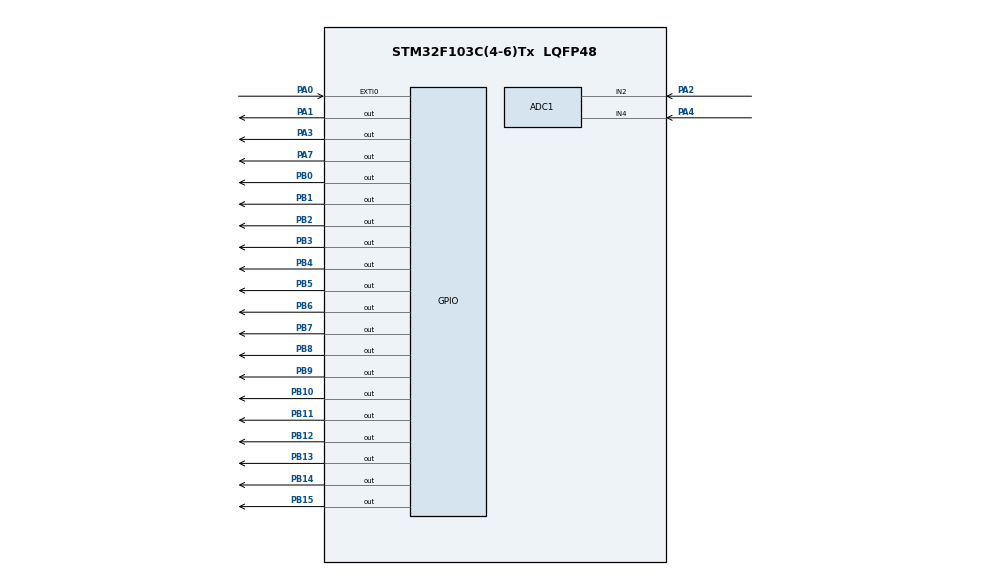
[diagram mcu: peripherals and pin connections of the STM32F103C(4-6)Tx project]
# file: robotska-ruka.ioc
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ADC1.Channel-0\#ChannelRegularConversion=ADC_CHANNEL_2
ADC1.Channel-4\#ChannelRegularConversion=ADC_CHANNEL_4
ADC1.ContinuousConvMode=ENABLE
ADC1.NbrOfConversion=2
ADC1.NbrOfConversionFlag=1
ADC1.Rank-0\#ChannelRegularConversion=1
ADC1.Rank-4\#ChannelRegularConversion=2
ADC1.SamplingTime-0\#ChannelRegularConversion=ADC_SAMPLETIME_1CYCLE_5
ADC1.SamplingTime-4\#ChannelRegularConversion=ADC_SAMPLETIME_1CYCLE_5
ADC1.master=1
Mcu.Family=STM32F1
Mcu.Name=STM32F103C(4-6)Tx
Mcu.Package=LQFP48
NVIC.EXTI0_IRQn=true\:0\:0\:true\:false\:true\:true\:true
NVIC.PriorityGroup=NVIC_PRIORITYGROUP_4
PA0-WKUP.GPIO_ModeDefaultEXTI=GPIO_MODE_IT_FALLING
PA0-WKUP.Signal=GPXTI0
PA1.Signal=GPIO_Output
PA2.Signal=ADCx_IN2
PA3.Signal=GPIO_Output
PA4.Signal=ADCx_IN4
PA7.Signal=GPIO_Output
PB0.Signal=GPIO_Output
PB1.Signal=GPIO_Output
PB10.Signal=GPIO_Output
PB11.Signal=GPIO_Output
PB12.Signal=GPIO_Output
PB13.Signal=GPIO_Output
PB14.Signal=GPIO_Output
PB15.Signal=GPIO_Output
PB2.Signal=GPIO_Output
PB3.Signal=GPIO_Output
PB4.Signal=GPIO_Output
PB5.Signal=GPIO_Output
PB6.Signal=GPIO_Output
PB7.Signal=GPIO_Output
PB8.Signal=GPIO_Output
PB9.Signal=GPIO_Output
ProjectManager.HeapSize=0x200
ProjectManager.StackSize=0x400
ProjectManager.TargetToolchain=STM32CubeIDE
RCC.APB1Freq_Value=8000000
RCC.APB2Freq_Value=8000000
SH.ADCx_IN2.0=ADC1_IN2,IN2
SH.ADCx_IN4.0=ADC1_IN4,IN4
VP_SYS_VS_ND.Mode=No_Debug
board=custom

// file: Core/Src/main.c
/* USER CODE BEGIN Header */
/**
 ******************************************************************************
 * @file           : main.c
 * @brief          : Main program body
 ******************************************************************************
 * @attention
 *
 * <h2><center>&copy; Copyright (c) 2022 STMicroelectronics.
 * All rights reserved.</center></h2>
 *
 * This software component is licensed by ST under BSD 3-Clause license,
 * the "License"; You may not use this file except in compliance with the
 * License. You may obtain a copy of the License at:
 *                        opensource.org/licenses/BSD-3-Clause
 *
 ******************************************************************************
 */
/* USER CODE END Header */

#include "main.h"

/* USER CODE BEGIN Includes */
#define CHECK_BIT(var,pos) ((var) & (1<<(pos)))

#define ADC_PORT GPIOA
#define DISPLAY_PORT GPIOB
// X osa jedinice
#define XJ1 GPIO_PIN_0
#define XJ2 GPIO_PIN_1
#define XJ3 GPIO_PIN_2
#define XJ4 GPIO_PIN_3
// X osa desetice
#define XD1 GPIO_PIN_4
#define XD2 GPIO_PIN_5
#define XD3 GPIO_PIN_6
#define XD4 GPIO_PIN_7
// Y osa jedinice
#define YJ1 GPIO_PIN_8
#define YJ2 GPIO_PIN_9
#define YJ3 GPIO_PIN_10
#define YJ4 GPIO_PIN_11
// Y osa desetice
#define YD1 GPIO_PIN_12
#define YD2 GPIO_PIN_13
#define YD3 GPIO_PIN_14
#define YD4 GPIO_PIN_15
// led za belezenje konverzije
#define ADCX GPIO_PIN_1
#define ADCY GPIO_PIN_3
// interrupt pin
#define INTERR_PIN GPIO_PIN_0
/* USER CODE END Includes */

ADC_HandleTypeDef hadc1;

void SystemClock_Config(void);
static void MX_GPIO_Init(void);
static void MX_ADC1_Init(void);
/* USER CODE BEGIN PFP */
void initAxes(void);
void setAxis(int coordinate, char axis);
void setAxisJ(int partialCoordinate, char axis);
void setAxisD(int partialCoordinate, char axis);

void getADCValues(uint32_t *adcResultX, uint32_t *adcResultY);
/* USER CODE END PFP */

/* USER CODE BEGIN 0 */
void ADC_SELECT_CH0(void) {
	ADC_ChannelConfTypeDef sConfig = { 0 };

	/** Configure Regular Channel
	 */
	sConfig.Channel = ADC_CHANNEL_2;
	sConfig.Rank = ADC_REGULAR_RANK_1;
	sConfig.SamplingTime = ADC_SAMPLETIME_1CYCLE_5;
	if (HAL_ADC_ConfigChannel(&hadc1, &sConfig) != HAL_OK) {
		Error_Handler();
	}
}
void ADC_SELECT_CH1(void) {
	ADC_ChannelConfTypeDef sConfig = { 0 };

	/** Configure Regular Channel
	 */
	sConfig.Channel = ADC_CHANNEL_4;
	sConfig.Rank = ADC_REGULAR_RANK_1;
	if (HAL_ADC_ConfigChannel(&hadc1, &sConfig) != HAL_OK) {
		Error_Handler();
	}
}

uint32_t adcResultX, adcResultY;

/* USER CODE END 0 */

int main(void)
{

  /* MCU Configuration--------------------------------------------------------*/

  /* Reset of all peripherals, Initializes the Flash interface and the Systick. */
  HAL_Init();

  /* Configure the system clock */
  SystemClock_Config();

  /* Initialize all configured peripherals */
  MX_GPIO_Init();
  MX_ADC1_Init();
  /* USER CODE BEGIN 2 */
	initAxes();
  /* USER CODE END 2 */

  /* Infinite loop */
  /* USER CODE BEGIN WHILE */
	while (1) {
		getADCValues(&adcResultX, &adcResultY);

		int xValue = (adcResultX * 100) / 4095;
		setAxis(xValue == 100 ? 99 : xValue, 'X');
		int yValue = (adcResultY * 100) / 4095;
		setAxis(yValue == 100 ? 99 : yValue, 'Y');
    /* USER CODE END WHILE */

	}
}

void SystemClock_Config(void)
{
  RCC_OscInitTypeDef RCC_OscInitStruct = {0};
  RCC_ClkInitTypeDef RCC_ClkInitStruct = {0};
  RCC_PeriphCLKInitTypeDef PeriphClkInit = {0};

  /** Initializes the CPU, AHB and APB busses clocks
  */
  RCC_OscInitStruct.OscillatorType = RCC_OSCILLATORTYPE_HSI;
  RCC_OscInitStruct.HSIState = RCC_HSI_ON;
  RCC_OscInitStruct.HSICalibrationValue = RCC_HSICALIBRATION_DEFAULT;
  RCC_OscInitStruct.PLL.PLLState = RCC_PLL_NONE;
  if (HAL_RCC_OscConfig(&RCC_OscInitStruct) != HAL_OK)
  {
    Error_Handler();
  }
  /** Initializes the CPU, AHB and APB busses clocks
  */
  RCC_ClkInitStruct.ClockType = RCC_CLOCKTYPE_HCLK|RCC_CLOCKTYPE_SYSCLK
                              |RCC_CLOCKTYPE_PCLK1|RCC_CLOCKTYPE_PCLK2;
  RCC_ClkInitStruct.SYSCLKSource = RCC_SYSCLKSOURCE_HSI;
  RCC_ClkInitStruct.AHBCLKDivider = RCC_SYSCLK_DIV1;
  RCC_ClkInitStruct.APB1CLKDivider = RCC_HCLK_DIV1;
  RCC_ClkInitStruct.APB2CLKDivider = RCC_HCLK_DIV1;

  if (HAL_RCC_ClockConfig(&RCC_ClkInitStruct, FLASH_LATENCY_0) != HAL_OK)
  {
    Error_Handler();
  }
  PeriphClkInit.PeriphClockSelection = RCC_PERIPHCLK_ADC;
  PeriphClkInit.AdcClockSelection = RCC_ADCPCLK2_DIV2;
  if (HAL_RCCEx_PeriphCLKConfig(&PeriphClkInit) != HAL_OK)
  {
    Error_Handler();
  }
}

static void MX_ADC1_Init(void)
{

  ADC_ChannelConfTypeDef sConfig = {0};

  /** Common config
  */
  hadc1.Instance = ADC1;
  hadc1.Init.ScanConvMode = ADC_SCAN_ENABLE;
  hadc1.Init.ContinuousConvMode = ENABLE;
  hadc1.Init.DiscontinuousConvMode = DISABLE;
  hadc1.Init.ExternalTrigConv = ADC_SOFTWARE_START;
  hadc1.Init.DataAlign = ADC_DATAALIGN_RIGHT;
  hadc1.Init.NbrOfConversion = 1;
  if (HAL_ADC_Init(&hadc1) != HAL_OK)
  {
    Error_Handler();
  }
//  /** Configure Regular Channel
//  */
//  sConfig.Channel = ADC_CHANNEL_2;
//  sConfig.Rank = ADC_REGULAR_RANK_1;
//  sConfig.SamplingTime = ADC_SAMPLETIME_1CYCLE_5;
//  if (HAL_ADC_ConfigChannel(&hadc1, &sConfig) != HAL_OK)
//  {
//    Error_Handler();
//  }
//  /** Configure Regular Channel
//  */
//  sConfig.Channel = ADC_CHANNEL_4;
//  sConfig.Rank = ADC_REGULAR_RANK_2;
//  if (HAL_ADC_ConfigChannel(&hadc1, &sConfig) != HAL_OK)
//  {
//    Error_Handler();
//  }

}

static void MX_GPIO_Init(void)
{
  GPIO_InitTypeDef GPIO_InitStruct = {0};

  /* GPIO Ports Clock Enable */
  __HAL_RCC_GPIOA_CLK_ENABLE();
  __HAL_RCC_GPIOB_CLK_ENABLE();

  /*Configure GPIO pin Output Level */
  HAL_GPIO_WritePin(GPIOA, GPIO_PIN_1|GPIO_PIN_3|GPIO_PIN_7, GPIO_PIN_RESET);

  /*Configure GPIO pin Output Level */
  HAL_GPIO_WritePin(GPIOB, GPIO_PIN_0|GPIO_PIN_1|GPIO_PIN_2|GPIO_PIN_10
                          |GPIO_PIN_11|GPIO_PIN_12|GPIO_PIN_13|GPIO_PIN_14
                          |GPIO_PIN_15|GPIO_PIN_3|GPIO_PIN_4|GPIO_PIN_5
                          |GPIO_PIN_6|GPIO_PIN_7|GPIO_PIN_8|GPIO_PIN_9, GPIO_PIN_RESET);

  /*Configure GPIO pin : PA0 */
  GPIO_InitStruct.Pin = GPIO_PIN_0;
  GPIO_InitStruct.Mode = GPIO_MODE_IT_FALLING;
  GPIO_InitStruct.Pull = GPIO_NOPULL;
  HAL_GPIO_Init(GPIOA, &GPIO_InitStruct);

  /*Configure GPIO pins : PA1 PA3 PA7 */
  GPIO_InitStruct.Pin = GPIO_PIN_1|GPIO_PIN_3|GPIO_PIN_7;
  GPIO_InitStruct.Mode = GPIO_MODE_OUTPUT_PP;
  GPIO_InitStruct.Pull = GPIO_NOPULL;
  GPIO_InitStruct.Speed = GPIO_SPEED_FREQ_LOW;
  HAL_GPIO_Init(GPIOA, &GPIO_InitStruct);

  /*Configure GPIO pins : PB0 PB1 PB2 PB10
                           PB11 PB12 PB13 PB14
                           PB15 PB3 PB4 PB5
                           PB6 PB7 PB8 PB9 */
  GPIO_InitStruct.Pin = GPIO_PIN_0|GPIO_PIN_1|GPIO_PIN_2|GPIO_PIN_10
                          |GPIO_PIN_11|GPIO_PIN_12|GPIO_PIN_13|GPIO_PIN_14
                          |GPIO_PIN_15|GPIO_PIN_3|GPIO_PIN_4|GPIO_PIN_5
                          |GPIO_PIN_6|GPIO_PIN_7|GPIO_PIN_8|GPIO_PIN_9;
  GPIO_InitStruct.Mode = GPIO_MODE_OUTPUT_PP;
  GPIO_InitStruct.Pull = GPIO_NOPULL;
  GPIO_InitStruct.Speed = GPIO_SPEED_FREQ_LOW;
  HAL_GPIO_Init(GPIOB, &GPIO_InitStruct);

  /* EXTI interrupt init*/
  HAL_NVIC_SetPriority(EXTI0_IRQn, 0, 0);
  HAL_NVIC_EnableIRQ(EXTI0_IRQn);

}

/* USER CODE BEGIN 4 */
void initAxes(void) {
	HAL_GPIO_WritePin(DISPLAY_PORT, XJ1, GPIO_PIN_SET);
	HAL_GPIO_WritePin(DISPLAY_PORT, XJ2, GPIO_PIN_SET);
	HAL_GPIO_WritePin(DISPLAY_PORT, XJ3, GPIO_PIN_SET);
	HAL_GPIO_WritePin(DISPLAY_PORT, XJ4, GPIO_PIN_SET);

	HAL_GPIO_WritePin(DISPLAY_PORT, XD1, GPIO_PIN_SET);
	HAL_GPIO_WritePin(DISPLAY_PORT, XD2, GPIO_PIN_SET);
	HAL_GPIO_WritePin(DISPLAY_PORT, XD3, GPIO_PIN_SET);
	HAL_GPIO_WritePin(DISPLAY_PORT, XD4, GPIO_PIN_SET);

	HAL_GPIO_WritePin(DISPLAY_PORT, YJ1, GPIO_PIN_SET);
	HAL_GPIO_WritePin(DISPLAY_PORT, YJ2, GPIO_PIN_SET);
	HAL_GPIO_WritePin(DISPLAY_PORT, YJ3, GPIO_PIN_SET);
	HAL_GPIO_WritePin(DISPLAY_PORT, YJ4, GPIO_PIN_SET);

	HAL_GPIO_WritePin(DISPLAY_PORT, YD1, GPIO_PIN_SET);
	HAL_GPIO_WritePin(DISPLAY_PORT, YD2, GPIO_PIN_SET);
	HAL_GPIO_WritePin(DISPLAY_PORT, YD3, GPIO_PIN_SET);
	HAL_GPIO_WritePin(DISPLAY_PORT, YD4, GPIO_PIN_SET);

	HAL_Delay(300);

	HAL_GPIO_WritePin(DISPLAY_PORT, XJ1, GPIO_PIN_RESET);
	HAL_GPIO_WritePin(DISPLAY_PORT, XJ2, GPIO_PIN_RESET);
	HAL_GPIO_WritePin(DISPLAY_PORT, XJ3, GPIO_PIN_RESET);
	HAL_GPIO_WritePin(DISPLAY_PORT, XJ4, GPIO_PIN_RESET);

	HAL_GPIO_WritePin(DISPLAY_PORT, XD1, GPIO_PIN_RESET);
	HAL_GPIO_WritePin(DISPLAY_PORT, XD2, GPIO_PIN_RESET);
	HAL_GPIO_WritePin(DISPLAY_PORT, XD3, GPIO_PIN_RESET);
	HAL_GPIO_WritePin(DISPLAY_PORT, XD4, GPIO_PIN_RESET);

	HAL_GPIO_WritePin(DISPLAY_PORT, YJ1, GPIO_PIN_RESET);
	HAL_GPIO_WritePin(DISPLAY_PORT, YJ2, GPIO_PIN_RESET);
	HAL_GPIO_WritePin(DISPLAY_PORT, YJ3, GPIO_PIN_RESET);
	HAL_GPIO_WritePin(DISPLAY_PORT, YJ4, GPIO_PIN_RESET);

	HAL_GPIO_WritePin(DISPLAY_PORT, YD1, GPIO_PIN_RESET);
	HAL_GPIO_WritePin(DISPLAY_PORT, YD2, GPIO_PIN_RESET);
	HAL_GPIO_WritePin(DISPLAY_PORT, YD3, GPIO_PIN_RESET);
	HAL_GPIO_WritePin(DISPLAY_PORT, YD4, GPIO_PIN_RESET);

}

void setAxis(int coordinate, char axis) {
	setAxisJ(coordinate % 10, axis);
	setAxisD(coordinate / 10, axis);
}
void setAxisJ(int partialCoordinate, char axis) {
	if (axis == 'X') {
		HAL_GPIO_WritePin(DISPLAY_PORT, XJ1,
		CHECK_BIT(partialCoordinate, 0) == 0 ? GPIO_PIN_RESET : GPIO_PIN_SET);
		HAL_GPIO_WritePin(DISPLAY_PORT, XJ2,
		CHECK_BIT(partialCoordinate, 1) == 0 ? GPIO_PIN_RESET : GPIO_PIN_SET);
		HAL_GPIO_WritePin(DISPLAY_PORT, XJ3,
		CHECK_BIT(partialCoordinate, 2) == 0 ? GPIO_PIN_RESET : GPIO_PIN_SET);
		HAL_GPIO_WritePin(DISPLAY_PORT, XJ4,
		CHECK_BIT(partialCoordinate, 3) == 0 ? GPIO_PIN_RESET : GPIO_PIN_SET);
	} else if (axis == 'Y') {
		HAL_GPIO_WritePin(DISPLAY_PORT, YJ1,
		CHECK_BIT(partialCoordinate, 0) == 0 ? GPIO_PIN_RESET : GPIO_PIN_SET);
		HAL_GPIO_WritePin(DISPLAY_PORT, YJ2,
		CHECK_BIT(partialCoordinate, 1) == 0 ? GPIO_PIN_RESET : GPIO_PIN_SET);
		HAL_GPIO_WritePin(DISPLAY_PORT, YJ3,
		CHECK_BIT(partialCoordinate, 2) == 0 ? GPIO_PIN_RESET : GPIO_PIN_SET);
		HAL_GPIO_WritePin(DISPLAY_PORT, YJ4,
		CHECK_BIT(partialCoordinate, 3) == 0 ? GPIO_PIN_RESET : GPIO_PIN_SET);
	}
}
void setAxisD(int partialCoordinate, char axis) {
	if (axis == 'X') {
		HAL_GPIO_WritePin(DISPLAY_PORT, XD1,
		CHECK_BIT(partialCoordinate, 0) == 0 ? GPIO_PIN_RESET : GPIO_PIN_SET);
		HAL_GPIO_WritePin(DISPLAY_PORT, XD2,
		CHECK_BIT(partialCoordinate, 1) == 0 ? GPIO_PIN_RESET : GPIO_PIN_SET);
		HAL_GPIO_WritePin(DISPLAY_PORT, XD3,
		CHECK_BIT(partialCoordinate, 2) == 0 ? GPIO_PIN_RESET : GPIO_PIN_SET);
		HAL_GPIO_WritePin(DISPLAY_PORT, XD4,
		CHECK_BIT(partialCoordinate, 3) == 0 ? GPIO_PIN_RESET : GPIO_PIN_SET);
	} else if (axis == 'Y') {
		HAL_GPIO_WritePin(DISPLAY_PORT, YD1,
		CHECK_BIT(partialCoordinate, 0) == 0 ? GPIO_PIN_RESET : GPIO_PIN_SET);
		HAL_GPIO_WritePin(DISPLAY_PORT, YD2,
		CHECK_BIT(partialCoordinate, 1) == 0 ? GPIO_PIN_RESET : GPIO_PIN_SET);
		HAL_GPIO_WritePin(DISPLAY_PORT, YD3,
		CHECK_BIT(partialCoordinate, 2) == 0 ? GPIO_PIN_RESET : GPIO_PIN_SET);
		HAL_GPIO_WritePin(DISPLAY_PORT, YD4,
		CHECK_BIT(partialCoordinate, 3) == 0 ? GPIO_PIN_RESET : GPIO_PIN_SET);
	}
}
void getADCValues(uint32_t *adcResultX, uint32_t *adcResultY) {

	HAL_GPIO_WritePin(ADC_PORT, ADCX, GPIO_PIN_SET);
	HAL_GPIO_WritePin(ADC_PORT, ADCY, GPIO_PIN_SET);

	HAL_Delay(300);
	ADC_SELECT_CH0();
	HAL_ADC_Start(&hadc1);
	HAL_ADC_PollForConversion(&hadc1, 1000);
	*adcResultX = HAL_ADC_GetValue(&hadc1);
	HAL_ADC_Stop(&hadc1);

	ADC_SELECT_CH1();
	HAL_ADC_Start(&hadc1);
	HAL_ADC_PollForConversion(&hadc1, 1000);
	*adcResultY = HAL_ADC_GetValue(&hadc1);
	HAL_ADC_Stop(&hadc1);

	HAL_GPIO_WritePin(ADC_PORT, ADCX, GPIO_PIN_RESET);
	HAL_GPIO_WritePin(ADC_PORT, ADCY, GPIO_PIN_RESET);
	HAL_Delay(300);
}
/* USER CODE END 4 */

void Error_Handler(void)
{
}

/************************ (C) COPYRIGHT STMicroelectronics *****END OF FILE****/
